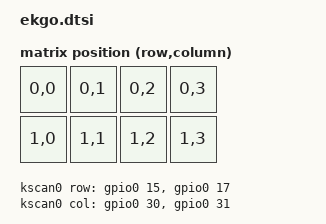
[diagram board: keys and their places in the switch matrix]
/*
*
* Copyright (c) 2024 The ZMK Contributors
* SPDX-License-Identifier: MIT
*
*/

#include <dt-bindings/zmk/matrix_transform.h>

#include "ekgo-layouts.dtsi"


/ {
    chosen {
        zmk,kscan = &kscan0;
        zmk,physical-layout = &physical_layout0;
    };


    kscan0: kscan  {
        compatible = "zmk,kscan-gpio-matrix";
        diode-direction = "col2row";
        wakeup-source;
        row-gpios
            = <&gpio0 15 (GPIO_ACTIVE_HIGH | GPIO_PULL_DOWN)>
             , <&gpio0 17 (GPIO_ACTIVE_HIGH | GPIO_PULL_DOWN)>
            // , <&gpio0 20 (GPIO_ACTIVE_HIGH | GPIO_PULL_DOWN)>
            // , <&gpio0 13 (GPIO_ACTIVE_HIGH | GPIO_PULL_DOWN)>
            // , <&gpio0 24 (GPIO_ACTIVE_HIGH | GPIO_PULL_DOWN)>
            // , <&gpio0 9 (GPIO_ACTIVE_HIGH | GPIO_PULL_DOWN)>
            // , <&gpio0 10 (GPIO_ACTIVE_HIGH | GPIO_PULL_DOWN)>
            // , <&gpio1 6 (GPIO_ACTIVE_HIGH | GPIO_PULL_DOWN)>
            ;
        col-gpios
            = <&gpio0 30 GPIO_ACTIVE_HIGH>
             , <&gpio0 31 GPIO_ACTIVE_HIGH>
            // , <&gpio0 29 GPIO_ACTIVE_HIGH>
            // , <&gpio0 2 GPIO_ACTIVE_HIGH>
            // , <&gpio1 13 GPIO_ACTIVE_HIGH>
            // , <&gpio0 3 GPIO_ACTIVE_HIGH>
            // , <&gpio0 28 GPIO_ACTIVE_HIGH>
            // , <&gpio1 11 GPIO_ACTIVE_HIGH>
            ;
    };

    default_transform: keymap_transform0 {
        compatible = "zmk,matrix-transform";
        columns = <4>;
        rows = <2>;
        map = <
            RC(0,0) RC(0,1) RC(0,2) RC(0,3)
            RC(1,0) RC(1,1) RC(1,2) RC(1,3)
        >; 
    };

    // battery: battery {
    //     compatible = "zmk,battery-voltage-divider";
    //     io-channels = <&adc 3>; // P0.04 is AIN2, positive input 3
    //     output-ohms = <2000000>;
    //     full-ohms = <(2000000 + 820000)>;
    // };

    // charge_led: leds {
    //     compatible = "gpio-leds";
    //     leds {
    //         compatible = "gpio-led";
    //         gpios = <&gpio1 10 GPIO_ACTIVE_LOW>; // Assume active low; adjust if needed
    //         label = "charge_status";
    //     };
    // };

    // EXT_POWER {
    //     compatible = "zmk,ext-power-generic";
    //     control-gpios = <&gpio1 9 GPIO_ACTIVE_HIGH>;
    //     init-delay-ms = <50>;
    // };
};


// &flash0 {
//     /*
//      * For more information, see:
//      * http://docs.zephyrproject.org/latest/devices/dts/flash_partitions.html
//      */
//     partitions {
//         compatible = "fixed-partitions";
//         #address-cells = <1>;
//         #size-cells = <1>;

//         sd_partition: partition@0 {
//             reg = <0x00000000 0x00026000>;
//         };

//         code_partition: partition@26000 {
//             reg = <0x00026000 0x000c6000>;
//         };

//         /*
//          * The flash starting at 0x000ec000 and ending at
//          * 0x000f3fff is reserved for use by the application.
//          *
//          * Storage partition will be used by FCB/LittleFS/NVS
//          * if enabled.
//          */
//         storage_partition: partition@ec000 {
//             reg = <0x000ec000 0x00008000>;
//         };

//         boot_partition: partition@f4000 {
//             reg = <0x000f4000 0x0000c000>;
//         };
//     };
// };

